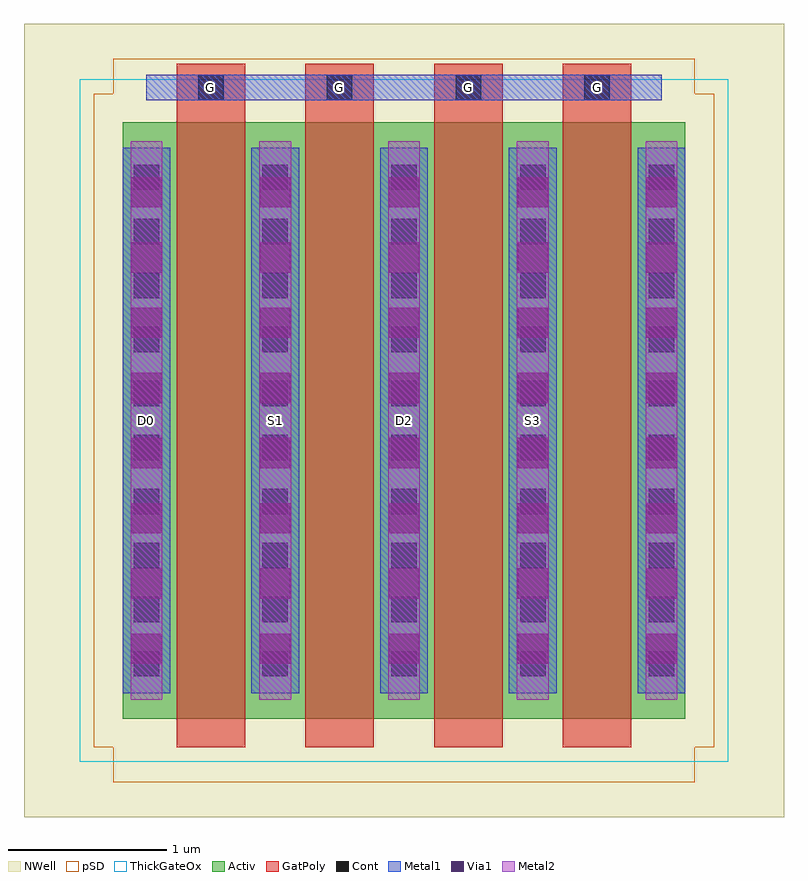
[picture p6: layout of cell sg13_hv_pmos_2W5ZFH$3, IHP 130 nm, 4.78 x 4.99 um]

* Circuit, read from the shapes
.subckt sg13_hv_pmos_2W5ZFH$3 D0 D2 G S1 S3
XM1 S1 G D0 n1 sg13_hv_pmos w=3.75u l=0.43u
XM2 D2 G S1 n1 sg13_hv_pmos w=3.75u l=0.43u
XM3 S3 G D2 n1 sg13_hv_pmos w=3.75u l=0.43u
XM4 n2 G S3 n1 sg13_hv_pmos w=3.75u l=0.43u
.ends

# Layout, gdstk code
import gdstk
lib = gdstk.Library(unit=1e-6, precision=1e-09)
def R(c, l, rs):  # rectangles x0, y0, x1, y1
    for r in rs: c.add(gdstk.rectangle(r[:2], r[2:], *l))
def A(c, l, x, y, w, h, nx, ny, dx, dy):  # array of equal rectangles
    R(c, l, [(x+i*dx, y+j*dy, x+i*dx+w, y+j*dy+h) for i in range(nx) for j in range(ny)])
Activ = (1, 0)
GatPoly = (5, 0)
Cont = (6, 0)
Metal1 = (8, 0)
Metal2 = (10, 0)
pSD = (14, 0)
Via1 = (19, 0)
NWell = (31, 0)
ThickGateOx = (44, 0)

sg13_hv_pmos_2w5zfh_3 = lib.new_cell('sg13_hv_pmos_2W5ZFH$3')
R(sg13_hv_pmos_2w5zfh_3, Activ, [(-1.77,-1.97,1.77,1.78)])
A(sg13_hv_pmos_2w5zfh_3, GatPoly, -1.43, -2.15, 0.43, 4.3, 4, 1, 0.81, 0)
A(sg13_hv_pmos_2w5zfh_3, Cont, -1.7, -1.705, 0.16, 0.16, 5, 10, 0.81, 0.34)
A(sg13_hv_pmos_2w5zfh_3, Cont, -1.295, 1.92, 0.16, 0.16, 4, 1, 0.81, 0)
A(sg13_hv_pmos_2w5zfh_3, Metal1, -1.77, -1.81, 0.3, 3.43, 5, 1, 0.81, 0)
R(sg13_hv_pmos_2w5zfh_3, Metal1, [(-1.62,1.92,1.62,2.08)])
A(sg13_hv_pmos_2w5zfh_3, Metal2, -1.72, -1.85, 0.2, 3.51, 5, 1, 0.81, 0)
R(sg13_hv_pmos_2w5zfh_3, pSD, [(-1.83,-2.37,1.83,-2.15), (-1.95,-2.15,1.95,1.96), (-1.83,1.96,1.83,2.18)])
A(sg13_hv_pmos_2w5zfh_3, Via1, -1.715, -1.625, 0.19, 0.19, 5, 8, 0.81, 0.41)
R(sg13_hv_pmos_2w5zfh_3, NWell, [(-2.39,-2.59,2.39,2.4)])
R(sg13_hv_pmos_2w5zfh_3, ThickGateOx, [(-2.04,-2.24,2.04,2.05)])
sg13_hv_pmos_2w5zfh_3.add(gdstk.Label('D0', (-1.62,-0.095), layer=8, texttype=25))
sg13_hv_pmos_2w5zfh_3.add(gdstk.Label('G', (1.215,2), layer=8, texttype=25))
sg13_hv_pmos_2w5zfh_3.add(gdstk.Label('G', (0.405,2), layer=8, texttype=25))
sg13_hv_pmos_2w5zfh_3.add(gdstk.Label('G', (-0.405,2), layer=8, texttype=25))
sg13_hv_pmos_2w5zfh_3.add(gdstk.Label('G', (-1.215,2), layer=8, texttype=25))
sg13_hv_pmos_2w5zfh_3.add(gdstk.Label('S1', (-0.81,-0.095), layer=8, texttype=25))
sg13_hv_pmos_2w5zfh_3.add(gdstk.Label('D2', (0,-0.095), layer=8, texttype=25))
sg13_hv_pmos_2w5zfh_3.add(gdstk.Label('S3', (0.81,-0.095), layer=8, texttype=25))

lib.write_gds('sg13_hv_pmos_2W5ZFH_3.gds')
